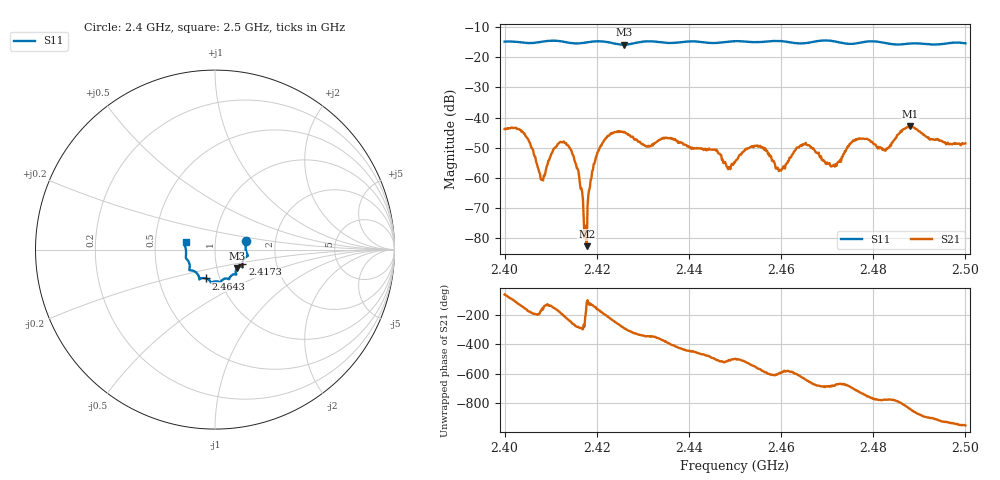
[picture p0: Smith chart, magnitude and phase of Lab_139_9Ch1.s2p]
# Hz S RI R 50
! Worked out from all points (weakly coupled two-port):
!   601 points, 2.4 GHz to 2.5 GHz, reference 50 ohm
!   highest |S21| = -42.91 dB at 2.488 GHz (marker M1); lowest = -82.6 dB at 2.4178 GHz (marker M2)
!   lowest |S11| = -15.9 dB at 2.4258 GHz (marker M3), VSWR 1.38, Z = 62.3 - j13.3 ohm
!   |S11| at or under -10 dB: start of sweep to end of sweep
!   S12 and S22 are empty: the file has one direction only
!   S11 on the Smith chart (normalised r, x): 2.4 GHz: 1.41, +0.14; 2.4173 GHz: 1.34, -0.23; 2.4643 GHz: 0.86, -0.28; 2.5 GHz: 0.72, +0.06
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2.4e9  0.1733 0.0495  0.00331 -0.00556  0 0  0 0
2.404333e9  0.1714 0.0215  -0.00487 -0.00242  0 0  0 0
2.408167e9  0.1785 -0.022  -0.000842 -0.000416  0 0  0 0
2.411e9  0.1833 -0.0346  -0.0029 -0.00132  0 0  0 0
2.413333e9  0.1711 -0.0423  -0.00299 0.00232  0 0  0 0
2.416667e9  0.1528 -0.0742  0.0002 0.000648  0 0  0 0
2.417333e9  0.1523 -0.0816  1.33e-05 0.000102  0 0  0 0
2.417833e9  0.1523 -0.0865  -2.7e-05 -6.93e-05  0 0  0 0
2.418667e9  0.1533 -0.093  -0.000601 -0.000705  0 0  0 0
2.420333e9  0.1547 -0.0975  -0.00266 -0.00081  0 0  0 0
2.425833e9  0.1219 -0.1036  0.00165 0.00555  0 0  0 0
2.433333e9  0.1131 -0.1369  0.0041 0.000245  0 0  0 0
2.45e9  0.0293 -0.1809  -0.00134 -0.00121  0 0  0 0
2.455e9  0.0018 -0.1768  -0.00296 0.00142  0 0  0 0
2.459833e9  -0.0234 -0.1829  -0.000731 0.00111  0 0  0 0
2.464333e9  -0.0498 -0.1606  -0.000521 0.00346  0 0  0 0
2.466667e9  -0.0758 -0.1597  0.00186 0.00259  0 0  0 0
2.471167e9  -0.0875 -0.1621  0.00123 0.00101  0 0  0 0
2.476667e9  -0.1233 -0.1174  0.0044 -1.24e-05  0 0  0 0
2.483333e9  -0.1407 -0.0899  0.00178 -0.00263  0 0  0 0
2.488e9  -0.1596 -0.0509  -0.00373 -0.0061  0 0  0 0
2.5e9  -0.1636 0.0427  -0.00221 0.00301  0 0  0 0
